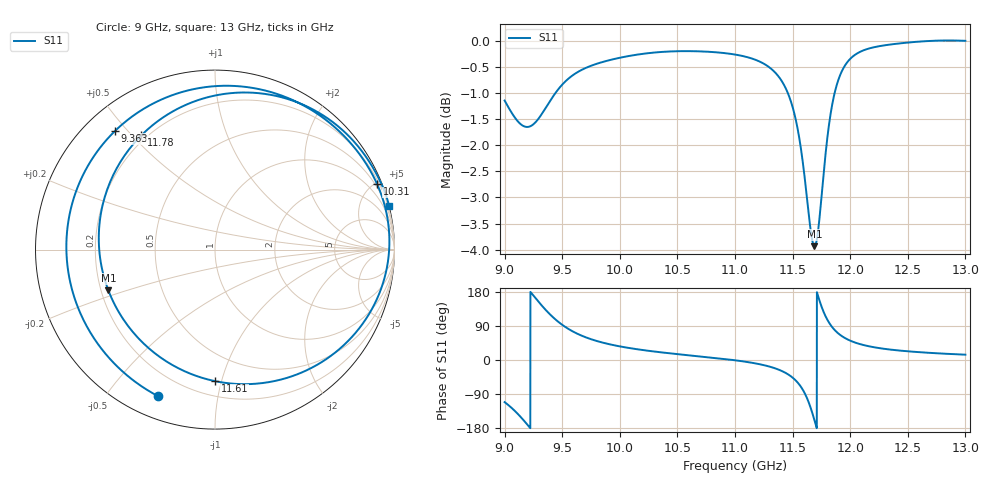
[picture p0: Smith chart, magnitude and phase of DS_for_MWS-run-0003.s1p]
! TOUCHSTONE file generated by CST DESIGN STUDIO
! Date and time: Tue Feb  4 13:58:04 2025
! Project name: C:\Work\MatlabApps\UnitCellOptimizationMatlab\CST\unitcell.cst
! Tree item: Tasks\Sweep1\SPara1\S-Parameters
! Header version: 2024
! Port assignment regex: !\s*Touchstone port\s*([0-9]+)\s*=\s*(CST MWS port|CST DES external port|CST DES block port)\s*(.+)\s* \(\"(.*)\"\)(\s*mode\s*([0-9]+))?.*
! Touchstone port assignment:
! Touchstone port 1 = CST DES external port 1 ("")
# GHz S MA R 50
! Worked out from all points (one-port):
!   4001 points, 9 GHz to 13 GHz, reference 50 ohm
!   lowest |S11| = -3.9 dB at 11.69 GHz (marker M1), VSWR 4.49, Z = 11.5 - j8.78 ohm
!   |S11| at or under -10 dB: nowhere
!   S11 on the Smith chart (normalised r, x): 9 GHz: 0.10, -0.68; 9.363 GHz: 0.09, +0.46; 10.31 GHz: 0.36, +5.12; 11.61 GHz: 0.30, -0.95; 11.78 GHz: 0.18, +0.53; 13 GHz: 0.02, +8.11
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9  0.8762 -111.1
9.1  0.8408 -137.7
9.206  0.8269 -173.7
9.28  0.8382 159.0
9.363  0.8645 130.1
9.428  0.8867 110.6
9.5  0.9074 92.9
9.712  0.9422 59.0
10  0.9627 35.9
10.309  0.9741 22.0
10.5  0.9767 15.5
11  0.9696 -0.7
11.33  0.9363 -20.1
11.427  0.9062 -32.0
11.5  0.8638 -46.5
11.556  0.8092 -63.9
11.609  0.7328 -90.0
11.649  0.669 -119.4
11.69  0.636 -159.0
11.729  0.6691 161.0
11.775  0.7575 122.7
11.81  0.8214 101.8
11.852  0.8778 83.7
11.919  0.9303 64.8
12  0.9604 51.1
12.184  0.984 34.9
12.5  0.9955 23.0
13  0.9993 14.1
